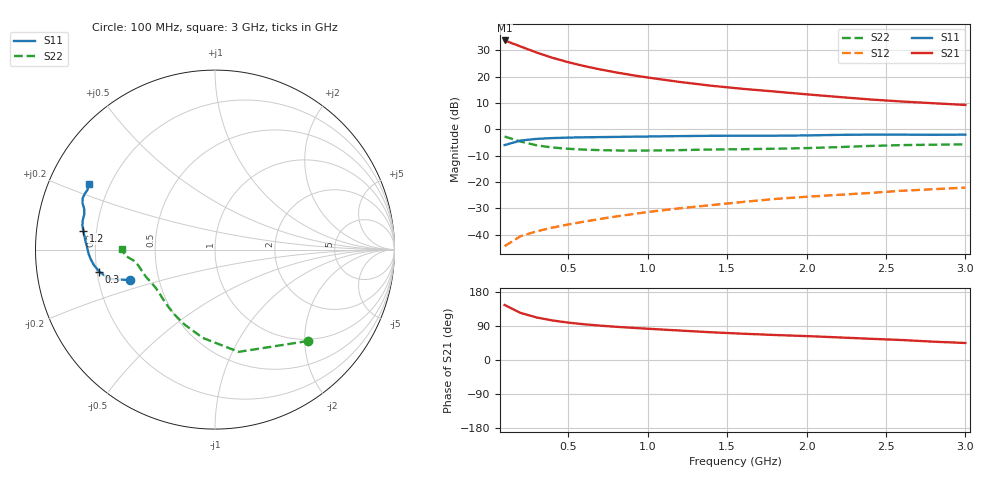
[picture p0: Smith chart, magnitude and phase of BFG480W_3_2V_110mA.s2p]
! Filename: 3_2110BFG480.001
! Title: BFG480W
! Bias: Vce=3.2V; Ic=110mA
! Company: Philips Semiconductors NL
! User: Quality&Reliability T&D
! Measure time: 10 Nov 1999 / 11:58:12
#  MHz  S  MA  R 50
! Freq  S11  S21  S12  S22  :
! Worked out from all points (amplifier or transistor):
!   20 points, 100 MHz to 3 GHz, reference 50 ohm
!   highest |S21| = 33.7 dB at 100 MHz (marker M1)
!   |S21| within 3 dB of that: start of sweep to 231.8 MHz
!   unconditionally stable (mu >= 1): 640.3 MHz to end of sweep
!   at 400 MHz: K = 0.86, MSG = 32.3 dB, |S12| = -37.4 dB
!   at 1.2 GHz: K = 1.09, MAG = 22.2 dB, |S12| = -30.0 dB
!   at 3 GHz: K = 1.06, MAG = 14.2 dB, |S12| = -22.2 dB
!   S11 on the Smith chart (normalised r, x): 100 MHz: 0.34, -0.16; 300 MHz: 0.21, -0.09; 1.2 GHz: 0.15, +0.07; 3 GHz: 0.12, +0.24
100  0.5008 -160.1  48.64 145.1  0.006016 69.0  0.7276 -44.4
200  0.6098 -164.5  37.44 124.3  0.009296 61.3  0.5848 -76.9
300  0.6562 -169.2  28.77 112.3  0.01147 60.9  0.4968 -97.8
400  0.6802 -172.7  22.85 104.4  0.01353 62.9  0.4508 -112.1
500  0.6943 -175.5  18.82 98.7  0.01552 64.9  0.4258 -122.2
600  0.7035 -177.8  15.89 94.3  0.01757 66.8  0.411 -129.6
700  0.7097 -179.9  13.73 90.7  0.01977 68.9  0.4013 -135.4
800  0.7154 178.2  12.04 87.7  0.02201 70.4  0.3955 -140.1
900  0.7228 176.4  10.7 85.0  0.02428 72.0  0.393 -144.2
1000  0.7285 174.8  9.623 82.5  0.02679 72.9  0.3935 -147.8
1200  0.7412 171.9  7.936 77.8  0.03148 74.3  0.4016 -153.6
1400  0.7509 169.7  6.715 73.2  0.03622 75.0  0.4122 -157.9
1600  0.7548 167.4  5.857 69.4  0.0416 75.7  0.4187 -161.2
1800  0.7545 164.8  5.21 66.0  0.04743 75.9  0.4266 -164.8
2000  0.7636 162.7  4.61 63.1  0.05223 76.5  0.4385 -168.9
2200  0.7825 160.6  4.113 59.7  0.05676 76.3  0.4581 -172.4
2400  0.7911 158.9  3.683 56.0  0.0617 75.7  0.482 -174.6
2600  0.7901 157.2  3.367 52.7  0.06795 74.9  0.5002 -176.0
2800  0.785 154.9  3.12 48.3  0.07266 73.4  0.509 -177.8
3000  0.7905 152.2  2.897 44.9  0.07801 72.5  0.5168 179.4
